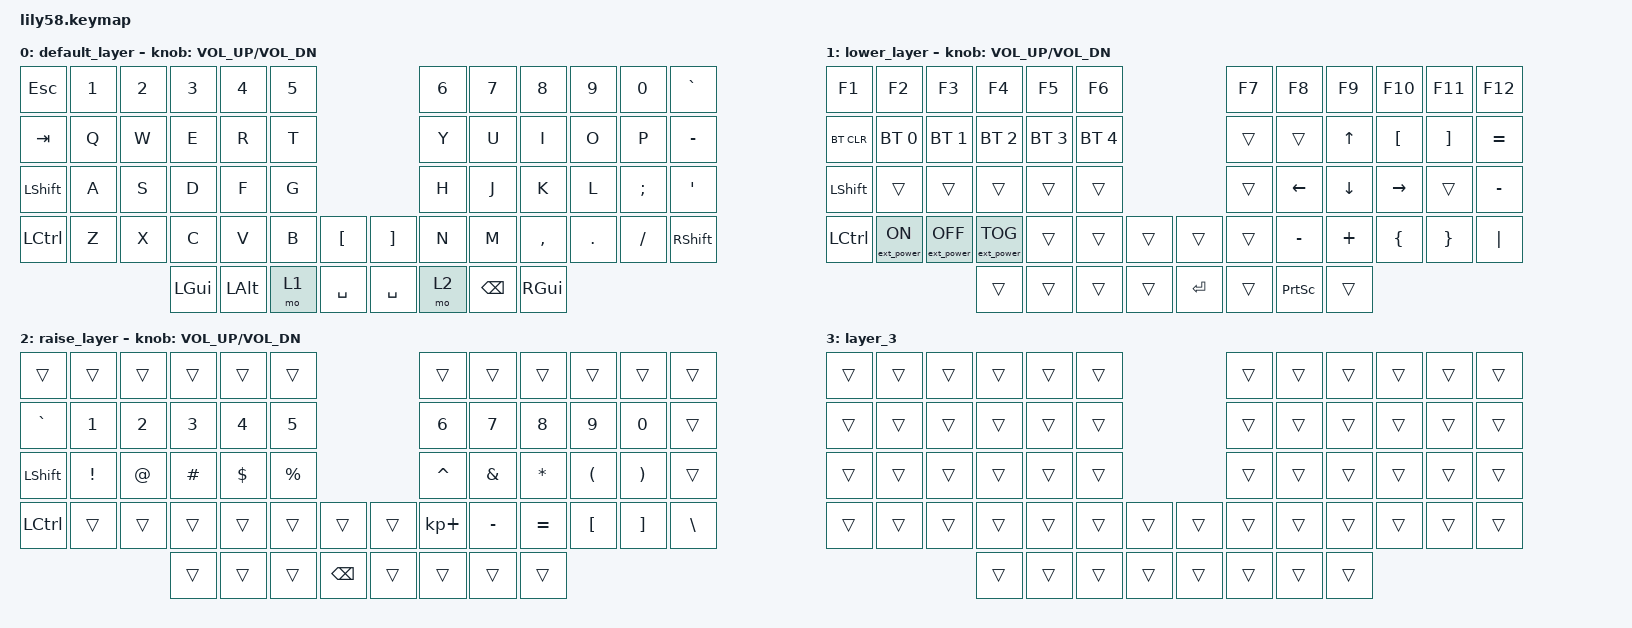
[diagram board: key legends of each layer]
/*
 * Copyright (c) 2020 The ZMK Contributors
 *
 * SPDX-License-Identifier: MIT
 */

#include <behaviors.dtsi>
#include <dt-bindings/zmk/bt.h>
#include <dt-bindings/zmk/ext_power.h>
#include <dt-bindings/zmk/keys.h>

/ {
    keymap {
        compatible = "zmk,keymap";

        default_layer {
            // ------------------------------------------------------------------------------------------------------------
            // |  ESC  |  1  |  2  |  3   |  4   |  5   |                   |  6   |  7    |  8    |  9   |   0   |   `   |
            // |  TAB  |  Q  |  W  |  E   |  R   |  T   |                   |  Y   |  U    |  I    |  O   |   P   |   -   |
            // |  CTRL |  A  |  S  |  D   |  F   |  G   |                   |  H   |  J    |  K    |  L   |   ;   |   '   |
            // | SHIFT |  Z  |  X  |  C   |  V   |  B   |   "["  |  |  "]"  |  N   |  M    |  ,    |  .   |   /   | SHIFT |
            //                     | ALT  | GUI  | LOWER|  SPACE |  | ENTER | RAISE| BSPC  | GUI   |

            bindings = <
&kp ESC    &kp N1  &kp N2  &kp N3        &kp N4        &kp N5                          &kp N6  &kp N7    &kp N8     &kp N9   &kp N0    &kp GRAVE
&kp TAB    &kp Q   &kp W   &kp E         &kp R         &kp T                           &kp Y   &kp U     &kp I      &kp O    &kp P     &kp MINUS
&kp LSHFT  &kp A   &kp S   &kp D         &kp F         &kp G                           &kp H   &kp J     &kp K      &kp L    &kp SEMI  &kp SQT
&kp LCTRL  &kp Z   &kp X   &kp C         &kp V         &kp B   &kp LBKT     &kp RBKT   &kp N   &kp M     &kp COMMA  &kp DOT  &kp FSLH  &kp RSHFT
                           &kp LEFT_GUI  &kp LEFT_ALT  &mo 1   &kp SPACE    &kp SPACE  &mo 2   &kp BSPC  &kp RGUI
            >;

            sensor-bindings = <&inc_dec_kp C_VOL_UP C_VOL_DN>;
        };

        lower_layer {
            // ------------------------------------------------------------------------------------------------------------
            // | BTCLR | BT1 | BT2 |  BT3 |  BT4 |  BT5 |                   |      |       |       |      |       |       |
            // |  F1   |  F2 |  F3 |  F4  |  F5  |  F6  |                   |  F7  |  F8   |  F9   |  F10 |  F11  |  F12  |
            // |   `   |  !  |  @  |  #   |  $   |  %   |                   |  ^   |  &    |  *    |  (   |   )   |   ~   |
            // |       |     |     |      |      |      |        |  |       |      |  _    |  +    |  {   |   }   |  "|"  |
            //                     |      |      |      |        |  |       |      |       |       |

            bindings = <
&kp F1      &kp F2            &kp F3             &kp F4             &kp F5        &kp F6                             &kp F7  &kp F8           &kp F9          &kp F10           &kp F11            &kp F12
&bt BT_CLR  &bt BT_SEL 0      &bt BT_SEL 1       &bt BT_SEL 2       &bt BT_SEL 3  &bt BT_SEL 4                       &trans  &trans           &kp UP_ARROW    &kp LEFT_BRACKET  &kp RIGHT_BRACKET  &kp EQUAL
&kp LSHFT   &trans            &trans             &trans             &trans        &trans                             &trans  &kp LEFT_ARROW   &kp DOWN_ARROW  &kp RIGHT_ARROW   &trans             &kp MINUS
&kp LCTRL   &ext_power EP_ON  &ext_power EP_OFF  &ext_power EP_TOG  &trans        &trans        &trans    &trans     &trans  &kp MINUS        &kp PLUS        &kp LBRC          &kp RBRC           &kp PIPE
                                                 &trans             &trans        &trans        &trans    &kp ENTER  &trans  &kp PRINTSCREEN  &trans
            >;

            sensor-bindings = <&inc_dec_kp C_VOL_UP C_VOL_DN>;
        };

        raise_layer {
            // ------------------------------------------------------------------------------------------------------------
            // |       |     |     |      |      |      |                   |      |       |       |      |       |       |
            // |   `   |  1  |  2  |  3   |  4   |  5   |                   |  6   |   7   |   8   |  9   |   0   |       |
            // |   F1  |  F2 |  F3 |  F4  |  F5  |  F6  |                   |      |   <-  |   v   |  ^   |  ->   |       |
            // |   F7  |  F8 |  F9 |  F10 |  F11 |  F12 |        |  |       |  +   |   -   |   =   |  [   |   ]   |   \   |
            //                     |      |      |      |        |  |       |      |       |       |

            bindings = <
&trans     &trans           &trans       &trans     &trans      &trans                                &trans       &trans         &trans        &trans                &trans                 &trans
&kp GRAVE  &kp N1           &kp N2       &kp N3     &kp N4      &kp N5                                &kp N6       &kp N7         &kp N8        &kp N9                &kp N0                 &trans
&kp LSHFT  &kp EXCLAMATION  &kp AT_SIGN  &kp POUND  &kp DOLLAR  &kp PERCENT                           &kp CARET    &kp AMPERSAND  &kp ASTERISK  &kp LEFT_PARENTHESIS  &kp RIGHT_PARENTHESIS  &trans
&kp LCTRL  &trans           &trans       &trans     &trans      &trans       &trans           &trans  &kp KP_PLUS  &kp MINUS      &kp EQUAL     &kp LBKT              &kp RBKT               &kp BSLH
                                         &trans     &trans      &trans       &kp BACKSPACE    &trans  &trans       &trans         &trans
            >;

            sensor-bindings = <&inc_dec_kp C_VOL_UP C_VOL_DN>;
        };

        layer_3 {
            bindings = <
&trans  &trans  &trans  &trans  &trans  &trans                    &trans  &trans  &trans  &trans  &trans  &trans
&trans  &trans  &trans  &trans  &trans  &trans                    &trans  &trans  &trans  &trans  &trans  &trans
&trans  &trans  &trans  &trans  &trans  &trans                    &trans  &trans  &trans  &trans  &trans  &trans
&trans  &trans  &trans  &trans  &trans  &trans  &trans    &trans  &trans  &trans  &trans  &trans  &trans  &trans
                        &trans  &trans  &trans  &trans    &trans  &trans  &trans  &trans
            >;
        };
    };
};
